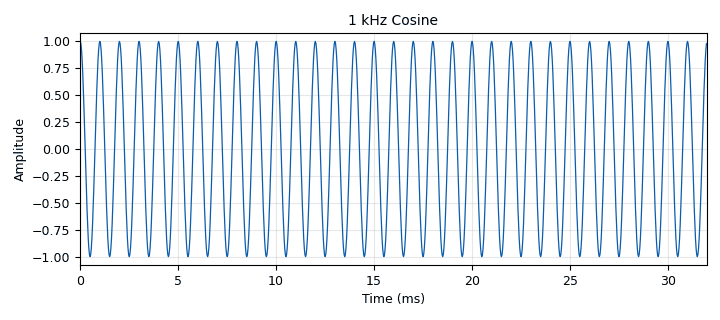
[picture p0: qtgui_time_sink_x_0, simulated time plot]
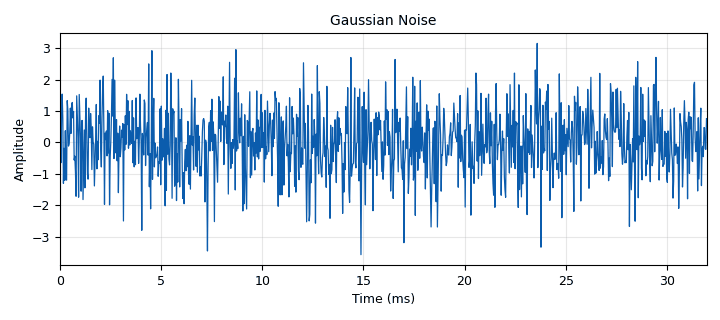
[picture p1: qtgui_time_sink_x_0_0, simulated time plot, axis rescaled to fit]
options:
  parameters:
    author: Dhrubjun
    generate_options: qt_gui
    id: exp3
    output_language: python
    title: Measuring Signal Power, Noise Power, and SNR
  states: {}

blocks:
- name: avg_len
  id: variable
  parameters:
    value: '1000'
  states: {}
- name: noise_amplitude
  id: variable_qtgui_chooser
  parameters:
    gui_hint: 0,0,1,1
    label: Noise Amplitude
    label0: '0.1'
    label1: '0.5'
    label2: '1'
    label3: '2'
    num_opts: '4'
    option0: '0.1'
    option1: '0.5'
    option2: '1'
    option3: '2'
    type: real
    value: '1'
  states: {}
- name: samp_rate
  id: variable
  parameters:
    value: '32000'
  states: {}
- name: analog_noise_source_x_0
  id: analog_noise_source_x
  parameters:
    amp: noise_amplitude
    noise_type: analog.GR_GAUSSIAN
    seed: '0'
    type: float
  states: {}
- name: analog_sig_source_x_0
  id: analog_sig_source_x
  parameters:
    amp: '1'
    freq: '1000'
    offset: '0'
    phase: '0'
    samp_rate: samp_rate
    type: float
    waveform: analog.GR_COS_WAVE
  states: {}
- name: blocks_divide_xx_0
  id: blocks_divide_xx
  parameters:
    type: float
  states: {}
- name: blocks_moving_average_xx_0
  id: blocks_moving_average_xx
  parameters:
    length: avg_len
    max_iter: '4000'
    scale: 1/avg_len
    type: float
  states: {}
- name: blocks_moving_average_xx_0_0
  id: blocks_moving_average_xx
  parameters:
    length: avg_len
    max_iter: '4000'
    scale: 1/avg_len
    type: float
  states: {}
- name: blocks_multiply_const_vxx_0
  id: blocks_multiply_const_vxx
  parameters:
    const: '10'
    type: float
  states: {}
- name: blocks_multiply_xx_0
  id: blocks_multiply_xx
  parameters:
    type: float
  states: {}
- name: blocks_multiply_xx_0_0
  id: blocks_multiply_xx
  parameters:
    type: float
  states: {}
- name: blocks_nlog10_ff_0
  id: blocks_nlog10_ff
  parameters:
    k: '0'
  states: {}
- name: blocks_throttle2_0
  id: blocks_throttle2
  parameters:
    samples_per_second: samp_rate
    type: float
  states: {}
- name: blocks_throttle2_0_0
  id: blocks_throttle2
  parameters:
    samples_per_second: samp_rate
    type: float
  states: {}
- name: noise_power_display
  id: qtgui_number_sink
  parameters:
    graph_type: qtgui.NUM_GRAPH_HORIZ
    gui_hint: 4,0,1,3
    name: Noise Power
    type: float
  states: {}
- name: qtgui_time_sink_x_0
  id: qtgui_time_sink_x
  parameters:
    gui_hint: 1,0,1,3
    name: 1 kHz Cosine
    size: '1024'
    srate: samp_rate
    type: float
  states: {}
- name: qtgui_time_sink_x_0_0
  id: qtgui_time_sink_x
  parameters:
    gui_hint: 2,0,1,3
    name: Gaussian Noise
    size: '1024'
    srate: samp_rate
    type: float
  states: {}
- name: signal_power_display
  id: qtgui_number_sink
  parameters:
    graph_type: qtgui.NUM_GRAPH_HORIZ
    gui_hint: 3,0,1,3
    name: Signal Power
    type: float
  states: {}
- name: snr_db_display
  id: qtgui_number_sink
  parameters:
    graph_type: qtgui.NUM_GRAPH_HORIZ
    gui_hint: 5,0,1,3
    name: SNR (dB)
    type: float
  states: {}

connections:
- [analog_noise_source_x_0, '0', blocks_throttle2_0, '0']
- [analog_sig_source_x_0, '0', blocks_throttle2_0_0, '0']
- [blocks_divide_xx_0, '0', blocks_nlog10_ff_0, '0']
- [blocks_moving_average_xx_0, '0', blocks_divide_xx_0, '0']
- [blocks_moving_average_xx_0, '0', signal_power_display, '0']
- [blocks_moving_average_xx_0_0, '0', blocks_divide_xx_0, '1']
- [blocks_moving_average_xx_0_0, '0', noise_power_display, '0']
- [blocks_multiply_const_vxx_0, '0', snr_db_display, '0']
- [blocks_multiply_xx_0, '0', blocks_moving_average_xx_0, '0']
- [blocks_multiply_xx_0_0, '0', blocks_moving_average_xx_0_0, '0']
- [blocks_nlog10_ff_0, '0', blocks_multiply_const_vxx_0, '0']
- [blocks_throttle2_0, '0', blocks_multiply_xx_0_0, '0']
- [blocks_throttle2_0, '0', blocks_multiply_xx_0_0, '1']
- [blocks_throttle2_0, '0', qtgui_time_sink_x_0_0, '0']
- [blocks_throttle2_0_0, '0', blocks_multiply_xx_0, '0']
- [blocks_throttle2_0_0, '0', blocks_multiply_xx_0, '1']
- [blocks_throttle2_0_0, '0', qtgui_time_sink_x_0, '0']

metadata:
  file_format: 1
  grc_version: 3.10.12.0
